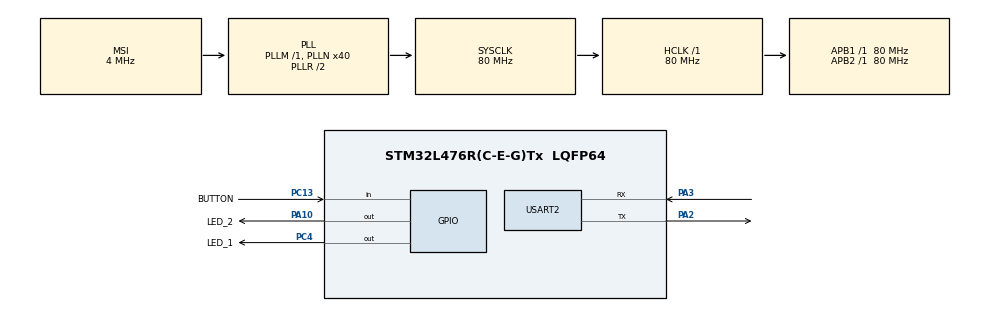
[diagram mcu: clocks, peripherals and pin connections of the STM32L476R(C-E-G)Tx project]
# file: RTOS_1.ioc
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FREERTOS.BinarySemaphores01=BinarySem,Dynamic,NULL
FREERTOS.Tasks01=normalTask,0,128,StartNormalTask,Default,NULL,Dynamic,NULL,NULL;HighTask,1,128,StartHighTask,Default,NULL,Dynamic,NULL,NULL;LowTask,-1,128,StartLowTask,Default,NULL,Dynamic,NULL,NULL
FREERTOS.configUSE_NEWLIB_REENTRANT=1
Mcu.Family=STM32L4
Mcu.Name=STM32L476R(C-E-G)Tx
Mcu.Package=LQFP64
NVIC.PriorityGroup=NVIC_PRIORITYGROUP_4
NVIC.TIM1_UP_TIM16_IRQn=true\:15\:0\:false\:false\:true\:false\:false\:true\:true
NVIC.TimeBase=TIM1_UP_TIM16_IRQn
NVIC.TimeBaseIP=TIM1
PA10.GPIO_Label=LED_2
PA10.Signal=GPIO_Output
PA2.Mode=Asynchronous
PA2.Signal=USART2_TX
PA3.Mode=Asynchronous
PA3.Signal=USART2_RX
PC13.GPIO_Label=BUTTON
PC13.Signal=GPIO_Input
PC4.GPIO_Label=LED_1
PC4.Signal=GPIO_Output
PH0-OSC_IN\ (PH0).Mode=HSE-External-Oscillator
PH0-OSC_IN\ (PH0).Signal=RCC_OSC_IN
PH1-OSC_OUT\ (PH1).Mode=HSE-External-Oscillator
PH1-OSC_OUT\ (PH1).Signal=RCC_OSC_OUT
ProjectManager.HeapSize=0x200
ProjectManager.StackSize=0x400
ProjectManager.TargetToolchain=STM32CubeIDE
RCC.AHBFreq_Value=80000000
RCC.APB1Freq_Value=80000000
RCC.APB1TimFreq_Value=80000000
RCC.APB2Freq_Value=80000000
RCC.APB2TimFreq_Value=80000000
RCC.CortexFreq_Value=80000000
RCC.HCLKFreq_Value=80000000
RCC.HSI_VALUE=16000000
RCC.LSE_VALUE=32768
RCC.MSI_VALUE=4000000
RCC.PLLN=40
RCC.SYSCLKFreq_VALUE=80000000
RCC.SYSCLKSource=RCC_SYSCLKSOURCE_PLLCLK
RCC.VCOOutputFreq_Value=160000000
USART2.VirtualMode-Asynchronous=VM_ASYNC
VP_FREERTOS_VS_CMSIS_V1.Mode=CMSIS_V1
VP_SYS_VS_tim1.Mode=TIM1
board=custom

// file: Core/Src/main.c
/* USER CODE BEGIN Header */
/**
  ******************************************************************************
  * @file           : main.c
  * @brief          : Main program body
  ******************************************************************************
  * @attention
  *
  * Copyright (c) 2024 STMicroelectronics.
  * All rights reserved.
  *
  * This software is licensed under terms that can be found in the LICENSE file
  * in the root directory of this software component.
  * If no LICENSE file comes with this software, it is provided AS-IS.
  *
  ******************************************************************************
  */
/* USER CODE END Header */
#include "main.h"
#include "cmsis_os.h"

/* USER CODE BEGIN Includes */
#include <string.h>
/* USER CODE END Includes */

UART_HandleTypeDef huart2;

osThreadId normalTaskHandle;
osThreadId HighTaskHandle;
osThreadId LowTaskHandle;
osSemaphoreId BinarySemHandle;

void SystemClock_Config(void);
static void MX_GPIO_Init(void);
static void MX_USART2_UART_Init(void);
void StartNormalTask(void const * argument);
void StartHighTask(void const * argument);
void StartLowTask(void const * argument);

int main(void)
{

  /* MCU Configuration--------------------------------------------------------*/

  /* Reset of all peripherals, Initializes the Flash interface and the Systick. */
  HAL_Init();

  /* Configure the system clock */
  SystemClock_Config();

  /* Initialize all configured peripherals */
  MX_GPIO_Init();
  MX_USART2_UART_Init();

  /* Create the semaphores(s) */
  /* definition and creation of BinarySem */
  osSemaphoreDef(BinarySem);
  BinarySemHandle = osSemaphoreCreate(osSemaphore(BinarySem), 1);

  /* Create the thread(s) */
  /* definition and creation of normalTask */
  osThreadDef(normalTask, StartNormalTask, osPriorityNormal, 0, 128);
  normalTaskHandle = osThreadCreate(osThread(normalTask), NULL);

  /* definition and creation of HighTask */
  osThreadDef(HighTask, StartHighTask, osPriorityAboveNormal, 0, 128);
  HighTaskHandle = osThreadCreate(osThread(HighTask), NULL);

  /* definition and creation of LowTask */
  osThreadDef(LowTask, StartLowTask, osPriorityBelowNormal, 0, 128);
  LowTaskHandle = osThreadCreate(osThread(LowTask), NULL);

  /* Start scheduler */
  osKernelStart();

  /* We should never get here as control is now taken by the scheduler */
  /* Infinite loop */
  while (1)
  {

  }
}

void SystemClock_Config(void)
{
  RCC_OscInitTypeDef RCC_OscInitStruct = {0};
  RCC_ClkInitTypeDef RCC_ClkInitStruct = {0};

  /** Configure the main internal regulator output voltage
  */
  if (HAL_PWREx_ControlVoltageScaling(PWR_REGULATOR_VOLTAGE_SCALE1) != HAL_OK)
  {
    Error_Handler();
  }

  /** Initializes the RCC Oscillators according to the specified parameters
  * in the RCC_OscInitTypeDef structure.
  */
  RCC_OscInitStruct.OscillatorType = RCC_OSCILLATORTYPE_MSI;
  RCC_OscInitStruct.MSIState = RCC_MSI_ON;
  RCC_OscInitStruct.MSICalibrationValue = 0;
  RCC_OscInitStruct.MSIClockRange = RCC_MSIRANGE_6;
  RCC_OscInitStruct.PLL.PLLState = RCC_PLL_ON;
  RCC_OscInitStruct.PLL.PLLSource = RCC_PLLSOURCE_MSI;
  RCC_OscInitStruct.PLL.PLLM = 1;
  RCC_OscInitStruct.PLL.PLLN = 40;
  RCC_OscInitStruct.PLL.PLLP = RCC_PLLP_DIV7;
  RCC_OscInitStruct.PLL.PLLQ = RCC_PLLQ_DIV2;
  RCC_OscInitStruct.PLL.PLLR = RCC_PLLR_DIV2;
  if (HAL_RCC_OscConfig(&RCC_OscInitStruct) != HAL_OK)
  {
    Error_Handler();
  }

  /** Initializes the CPU, AHB and APB buses clocks
  */
  RCC_ClkInitStruct.ClockType = RCC_CLOCKTYPE_HCLK|RCC_CLOCKTYPE_SYSCLK
                              |RCC_CLOCKTYPE_PCLK1|RCC_CLOCKTYPE_PCLK2;
  RCC_ClkInitStruct.SYSCLKSource = RCC_SYSCLKSOURCE_PLLCLK;
  RCC_ClkInitStruct.AHBCLKDivider = RCC_SYSCLK_DIV1;
  RCC_ClkInitStruct.APB1CLKDivider = RCC_HCLK_DIV1;
  RCC_ClkInitStruct.APB2CLKDivider = RCC_HCLK_DIV1;

  if (HAL_RCC_ClockConfig(&RCC_ClkInitStruct, FLASH_LATENCY_4) != HAL_OK)
  {
    Error_Handler();
  }
}

static void MX_USART2_UART_Init(void)
{

  huart2.Instance = USART2;
  huart2.Init.BaudRate = 115200;
  huart2.Init.WordLength = UART_WORDLENGTH_8B;
  huart2.Init.StopBits = UART_STOPBITS_1;
  huart2.Init.Parity = UART_PARITY_NONE;
  huart2.Init.Mode = UART_MODE_TX_RX;
  huart2.Init.HwFlowCtl = UART_HWCONTROL_NONE;
  huart2.Init.OverSampling = UART_OVERSAMPLING_16;
  huart2.Init.OneBitSampling = UART_ONE_BIT_SAMPLE_DISABLE;
  huart2.AdvancedInit.AdvFeatureInit = UART_ADVFEATURE_NO_INIT;
  if (HAL_UART_Init(&huart2) != HAL_OK)
  {
    Error_Handler();
  }

}

static void MX_GPIO_Init(void)
{
  GPIO_InitTypeDef GPIO_InitStruct = {0};

  /* GPIO Ports Clock Enable */
  __HAL_RCC_GPIOC_CLK_ENABLE();
  __HAL_RCC_GPIOH_CLK_ENABLE();
  __HAL_RCC_GPIOA_CLK_ENABLE();

  /*Configure GPIO pin Output Level */
  HAL_GPIO_WritePin(LED_1_GPIO_Port, LED_1_Pin, GPIO_PIN_RESET);

  /*Configure GPIO pin Output Level */
  HAL_GPIO_WritePin(LED_2_GPIO_Port, LED_2_Pin, GPIO_PIN_RESET);

  /*Configure GPIO pin : BUTTON_Pin */
  GPIO_InitStruct.Pin = BUTTON_Pin;
  GPIO_InitStruct.Mode = GPIO_MODE_INPUT;
  GPIO_InitStruct.Pull = GPIO_NOPULL;
  HAL_GPIO_Init(BUTTON_GPIO_Port, &GPIO_InitStruct);

  /*Configure GPIO pin : LED_1_Pin */
  GPIO_InitStruct.Pin = LED_1_Pin;
  GPIO_InitStruct.Mode = GPIO_MODE_OUTPUT_PP;
  GPIO_InitStruct.Pull = GPIO_NOPULL;
  GPIO_InitStruct.Speed = GPIO_SPEED_FREQ_LOW;
  HAL_GPIO_Init(LED_1_GPIO_Port, &GPIO_InitStruct);

  /*Configure GPIO pin : LED_2_Pin */
  GPIO_InitStruct.Pin = LED_2_Pin;
  GPIO_InitStruct.Mode = GPIO_MODE_OUTPUT_PP;
  GPIO_InitStruct.Pull = GPIO_NOPULL;
  GPIO_InitStruct.Speed = GPIO_SPEED_FREQ_LOW;
  HAL_GPIO_Init(LED_2_GPIO_Port, &GPIO_InitStruct);

}

void StartNormalTask(void const * argument)
{
  /* USER CODE BEGIN 5 */
	const char messageNormal_1[] = "Entered NormalTask and waiting for semaphore\r\n";
	const char messageNormal_2[] = "Leaving NormalTask\r\n\n";
	const char messageNormal_3[] = "Semaphore acquired by NormalTask\r\n";
  /* Infinite loop */
  for(;;)
  {
	HAL_UART_Transmit(&huart2, (uint8_t*)&messageNormal_1, strlen(messageNormal_1), HAL_MAX_DELAY);

	osSemaphoreWait(BinarySemHandle, osWaitForever);
	HAL_UART_Transmit(&huart2, (uint8_t*)&messageNormal_3, strlen(messageNormal_3), HAL_MAX_DELAY);
	while (HAL_GPIO_ReadPin(BUTTON_GPIO_Port, BUTTON_Pin));

	HAL_UART_Transmit(&huart2, (uint8_t*)&messageNormal_2, strlen(messageNormal_2), HAL_MAX_DELAY);

	osSemaphoreRelease(BinarySemHandle);
	osDelay(500);
  }
  /* USER CODE END 5 */
}

void StartHighTask(void const * argument)
{
  /* USER CODE BEGIN StartHighTask */
	const char messageHigh_1[] = "Entered HighTask and waiting for semaphore\r\n";
	const char messageHigh_2[] = "Leaving HighTask\r\n\n";
	const char messageHigh_3[] = "Semaphore acquired by HighTask\r\n";
  /* Infinite loop */
  for(;;)
  {
	HAL_UART_Transmit(&huart2, (uint8_t*)&messageHigh_1, strlen(messageHigh_1), HAL_MAX_DELAY);

	osSemaphoreWait(BinarySemHandle, osWaitForever);
	HAL_UART_Transmit(&huart2, (uint8_t*)&messageHigh_3, strlen(messageHigh_3), HAL_MAX_DELAY);

	HAL_UART_Transmit(&huart2, (uint8_t*)&messageHigh_2, strlen(messageHigh_2), HAL_MAX_DELAY);
	osSemaphoreRelease(BinarySemHandle);
    osDelay(500);
  }
  /* USER CODE END StartHighTask */
}

void StartLowTask(void const * argument)
{
  /* USER CODE BEGIN StartLowTask */
	const char messageLow_1[] = "Entered LowTask\r\n";
	const char messageLow_2[] = "Leaving LowTask\r\n\n";
  /* Infinite loop */
  for(;;)
  {
	HAL_UART_Transmit(&huart2, (uint8_t*)&messageLow_1, strlen(messageLow_1), HAL_MAX_DELAY);

	HAL_UART_Transmit(&huart2, (uint8_t*)&messageLow_2, strlen(messageLow_2), HAL_MAX_DELAY);
	osDelay(500);
  }
  /* USER CODE END StartLowTask */
}

void HAL_TIM_PeriodElapsedCallback(TIM_HandleTypeDef *htim)
{
  if (htim->Instance == TIM1) {
    HAL_IncTick();
  }
}

void Error_Handler(void)
{
  __disable_irq();
  while (1)
  {
  }
}
